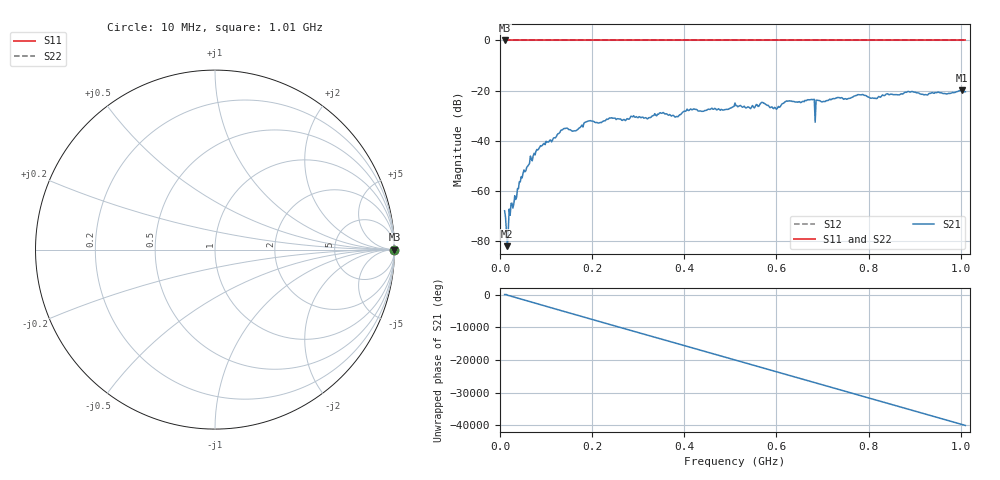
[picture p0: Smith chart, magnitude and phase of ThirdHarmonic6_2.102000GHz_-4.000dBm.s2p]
! 8/17/2025 1:08:41 AM
! C:\ANRITSUVNA\TEMP\TEMP.S2P
! CHANNEL.1
! TR.MEASUREMENT
! RAW.DATA
! RF.CORRECTION.OFF
! AVERAGING.OFF
! IF.BANDWIDTH: 5KHZ
! SWEEPTYPE:  FREQ.SWEEP(Linear)
! Reference Plane Port Info
! PORT:  PORT1  PORT2
! DISTANCE:  0  m  0  m
! TIME:  0  s  0  s
! PHASE.OFFSET:  0  deg.  0  deg.
! LOSS:  0  dB  0  dB
! REF.LOSS:  0  dB  0  dB
! REF.FREQ:  0  Hz  0  Hz
! Power Info
! POWER:  -20  dBm  -20  dBm
! EFF.POWER:  -20  dBm  -20  dBm
! SOURCE.ATTEN:  0  dB  0  dB
! TEST.ATTEN:  0  dB  0  dB
# GHZ S RI R 50.0
! FREQ.GHZ  S11RE  S11IM  S21RE  S21IM  S12RE  S12IM  S22RE  S22IM
!; PortSelection: Port_12
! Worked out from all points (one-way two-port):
!   501 points, 10 MHz to 1.01 GHz, reference 50 ohm
!   highest |S21| = -19.86 dB at 1.002 GHz (marker M1); lowest = -82.1 dB at 16 MHz (marker M2)
!   lowest |S11| = 0.0 dB at 10 MHz (marker M3)
!   |S11| at or under -10 dB: nowhere
!   |S22| runs from 0.0 to 0.0 dB; largest |S21 - S12| = 1.1
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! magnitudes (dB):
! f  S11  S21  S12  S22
! 10 MHz  0.0  -68.0  0.0  0.0
! 16 MHz  0.0  -82.1  0.0  0.0
! 18 MHz  0.0  -75.6  0.0  0.0
! 24 MHz  0.0  -65.1  0.0  0.0
! 32 MHz  0.0  -62.0  0.0  0.0
! 46 MHz  0.0  -54.4  0.0  0.0
! 76 MHz  0.0  -45.7  0.0  0.0
! 136 MHz  0.0  -35.6  0.0  0.0
! 178 MHz  0.0  -33.8  0.0  0.0
! 344 MHz  0.0  -29.5  0.0  0.0
! 384 MHz  0.0  -30.3  0.0  0.0
! 410 MHz  0.0  -28.0  0.0  0.0
! 510 MHz  0.0  -25.0  0.0  0.0
! 570 MHz  0.0  -24.8  0.0  0.0
! 598 MHz  0.0  -27.0  0.0  0.0
! 624 MHz  0.0  -24.2  0.0  0.0
! 678 MHz  0.0  -23.6  0.0  0.0
! 688 MHz  0.0  -23.9  0.0  0.0
! 690 MHz  0.0  -24.0  0.0  0.0
! 844 MHz  0.0  -21.7  0.0  0.0
! 1.002 GHz  0.0  -19.9  0.0  0.0
! 1.01 GHz  0.0  -20.5  0.0  0.0
